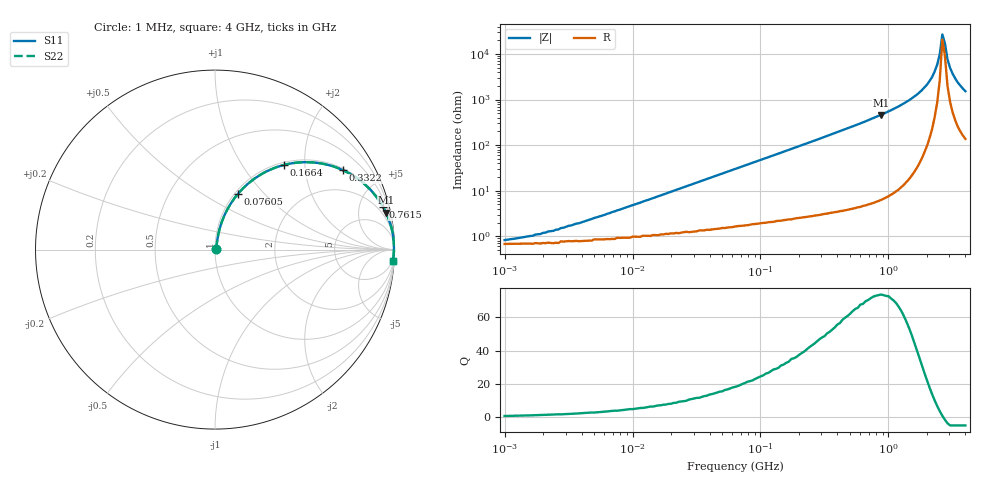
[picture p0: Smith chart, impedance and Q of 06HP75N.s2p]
# MHz S MA R 50
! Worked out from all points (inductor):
!   181 points, 1 MHz to 4 GHz, reference 50 ohm
!   read as one part in series: L = 75 nH near 5.501 MHz
!   highest Q = 73.4 at 874.3 MHz (marker M1), where L = 84.1 nH
!   self-resonance near 2.642 GHz
!   S11 on the Smith chart (normalised r, x): 1 MHz: 1.01, +0.01; 76.05 MHz: 1.03, +0.72; 166.4 MHz: 1.05, +1.57; 332.2 MHz: 1.06, +3.18; 761.5 MHz: 1.09, +7.81; 4 GHz: 4, -31
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1  0.008056 35.3  0.993 -0.3  0.993 -0.3  0.008056 35.3
4.172  0.021 66.6  0.992 -1.1  0.992 -1.1  0.021 66.6
16.623  0.078 77.6  0.986 -4.4  0.986 -4.4  0.078 77.6
63.246  0.282 70.5  0.944 -16.4  0.944 -16.4  0.282 70.5
76.046  0.333 67.8  0.927 -19.4  0.927 -19.4  0.333 67.8
166.445  0.61 50.7  0.774 -37.6  0.774 -37.6  0.61 50.7
263.867  0.774 38.0  0.616 -50.7  0.616 -50.7  0.774 38.0
332.232  0.839 31.8  0.528 -57.0  0.528 -57.0  0.839 31.8
761.462  0.966 14.3  0.247 -74.9  0.247 -74.9  0.966 14.3
874.344  0.975 12.2  0.211 -77.0  0.211 -77.0  0.975 12.2
1003.961  0.982 10.3  0.178 -78.9  0.178 -78.9  0.982 10.3
1451.471  0.993 5.9  0.103 -83.0  0.103 -83.0  0.993 5.9
2003.957  0.997 2.7  0.047 -84.7  0.047 -84.7  0.997 2.7
2197.411  0.997 1.8  0.032 -84.0  0.032 -84.0  0.997 1.8
2409.54  0.997 1.0  0.017 -80.5  0.017 -80.5  0.997 1.0
2523.164  0.997 0.6  0.01 -73.7  0.01 -73.7  0.997 0.6
2642.147  0.997 0.1  0.003728 -39.1  0.003728 -39.1  0.997 0.1
2766.741  0.997 -0.3  0.005798 57.5  0.005798 57.5  0.997 -0.3
2897.209  0.997 -0.7  0.013 74.1  0.013 74.1  0.997 -0.7
3033.831  0.996 -1.1  0.02 78.5  0.02 78.5  0.996 -1.1
3483.579  0.995 -2.4  0.042 81.4  0.042 81.4  0.995 -2.4
4000  0.992 -3.7  0.065 81.2  0.065 81.2  0.992 -3.7
